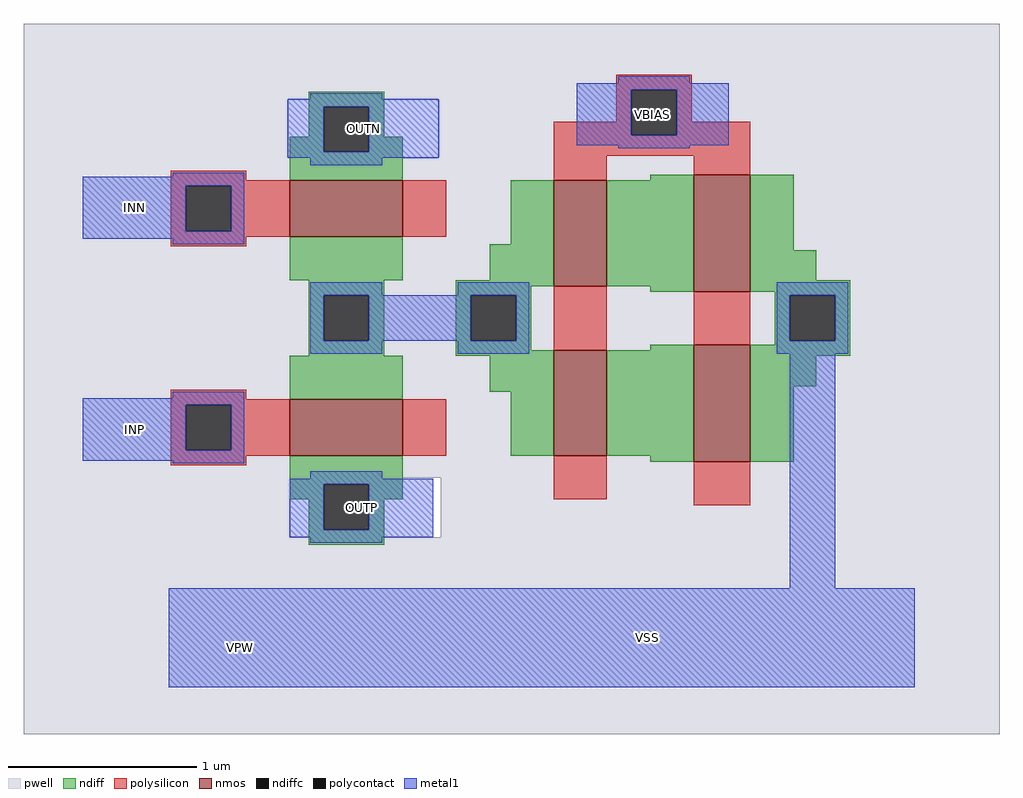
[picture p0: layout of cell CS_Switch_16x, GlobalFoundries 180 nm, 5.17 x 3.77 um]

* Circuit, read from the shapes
.subckt CS_Switch_16x INP INN OUTP OUTN VBIAS VSS VPW
XM1 n1 INP OUTP VPW nfet_03v3 w=0.6u l=0.3u
XM2 OUTN INN n1 VPW nfet_03v3 w=0.6u l=0.3u
XM3 n2 VBIAS n1 VPW nfet_03v3 w=0.56u l=0.28u
XM4 n3 VBIAS n1 VPW nfet_03v3 w=0.56u l=0.28u
XM5 VSS VBIAS n2 VPW nfet_03v3 w=0.62u l=0.3u
XM6 VSS VBIAS n3 VPW nfet_03v3 w=0.62u l=0.3u
.ends

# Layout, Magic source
magic
tech gf180mcuD
magscale 1 10
<< pwell >>
rect 1022 186 2056 266
rect 1022 124 1302 186
rect 1324 146 1404 186
rect 1304 124 1424 146
rect 1462 124 2056 186
rect 1022 -215 2056 124
rect 1022 -238 1424 -215
rect 1022 -278 1304 -238
rect 1324 -278 1404 -238
rect 1464 -278 2056 -215
rect 1022 -487 2056 -278
<< nmos >>
rect 1304 40 1424 100
rect 1584 -12 1640 100
rect 1732 -18 1792 106
rect 1304 -192 1424 -132
rect 1584 -192 1640 -80
rect 1732 -198 1792 -74
<< ndiff >>
rect 1324 178 1404 194
rect 1324 146 1340 178
rect 1304 130 1340 146
rect 1388 146 1404 178
rect 1388 130 1424 146
rect 1304 100 1424 130
rect 1686 100 1732 106
rect 1304 -6 1424 40
rect 1538 32 1584 100
rect 1516 -6 1584 32
rect 1324 -22 1404 -6
rect 1324 -70 1340 -22
rect 1388 -70 1404 -22
rect 1324 -86 1404 -70
rect 1480 -12 1584 -6
rect 1640 -12 1732 100
rect 1480 -22 1560 -12
rect 1480 -70 1496 -22
rect 1544 -70 1560 -22
rect 1480 -80 1560 -70
rect 1686 -18 1732 -12
rect 1792 26 1838 106
rect 1792 -6 1862 26
rect 1792 -18 1898 -6
rect 1818 -22 1898 -18
rect 1818 -70 1834 -22
rect 1882 -70 1898 -22
rect 1818 -74 1898 -70
rect 1686 -80 1732 -74
rect 1480 -86 1584 -80
rect 1304 -132 1424 -86
rect 1516 -124 1584 -86
rect 1538 -192 1584 -124
rect 1640 -192 1732 -80
rect 1304 -222 1424 -192
rect 1304 -238 1340 -222
rect 1324 -270 1340 -238
rect 1388 -238 1424 -222
rect 1686 -198 1732 -192
rect 1792 -86 1898 -74
rect 1792 -118 1862 -86
rect 1792 -198 1838 -118
rect 1388 -270 1404 -238
rect 1324 -286 1404 -270
<< ndiffc >>
rect 1340 130 1388 178
rect 1340 -70 1388 -22
rect 1496 -70 1544 -22
rect 1834 -70 1882 -22
rect 1340 -270 1388 -222
<< polysilicon >>
rect 1650 196 1730 212
rect 1650 162 1666 196
rect 1584 148 1666 162
rect 1714 162 1730 196
rect 1714 148 1792 162
rect 1178 100 1258 110
rect 1584 126 1792 148
rect 1584 100 1640 126
rect 1732 106 1792 126
rect 1178 94 1304 100
rect 1178 46 1194 94
rect 1242 46 1304 94
rect 1178 40 1304 46
rect 1424 40 1470 100
rect 1178 30 1258 40
rect 1584 -80 1640 -12
rect 1732 -74 1792 -18
rect 1178 -132 1258 -122
rect 1178 -138 1304 -132
rect 1178 -186 1194 -138
rect 1242 -186 1304 -138
rect 1178 -192 1304 -186
rect 1424 -192 1470 -132
rect 1178 -202 1258 -192
rect 1584 -238 1640 -192
rect 1732 -244 1792 -198
<< polycontact >>
rect 1666 148 1714 196
rect 1194 46 1242 94
rect 1194 -186 1242 -138
<< metal1 >>
rect 1652 203 1728 210
rect 1608 196 1769 203
rect 1326 186 1402 192
rect 1302 178 1462 186
rect 1302 130 1340 178
rect 1388 130 1462 178
rect 1608 148 1666 196
rect 1714 148 1769 196
rect 1608 137 1769 148
rect 1652 134 1728 137
rect 1302 124 1462 130
rect 1326 116 1402 124
rect 1180 104 1256 108
rect 1085 94 1256 104
rect 1085 46 1194 94
rect 1242 46 1256 94
rect 1085 38 1256 46
rect 1180 32 1256 38
rect 1326 -22 1402 -8
rect 1482 -22 1558 -8
rect 1326 -70 1340 -22
rect 1388 -70 1496 -22
rect 1544 -70 1558 -22
rect 1326 -84 1402 -70
rect 1482 -84 1558 -70
rect 1820 -22 1896 -8
rect 1820 -70 1834 -22
rect 1882 -70 1896 -22
rect 1820 -84 1896 -70
rect 1180 -131 1256 -124
rect 1085 -138 1256 -131
rect 1085 -186 1194 -138
rect 1242 -186 1256 -138
rect 1085 -197 1256 -186
rect 1180 -200 1256 -197
rect 1326 -216 1402 -208
rect 1304 -222 1456 -216
rect 1304 -270 1340 -222
rect 1388 -270 1456 -222
rect 1304 -278 1456 -270
rect 1326 -284 1402 -278
rect 1834 -332 1882 -84
rect 1176 -437 1966 -332
<< labels >>
flabel metal1 1608 137 1769 203 1 FreeSans 400 0 0 0 VBIAS
port 5 nsew power bidirectional
flabel metal1 1400 -437 1966 -332 1 FreeSans 400 0 0 0 VSS
port 6 nsew ground bidirectional
flabel pwell 1196 -438 1308 -351 1 FreeSans 400 0 0 0 VPW
port 7 nsew ground bidirectional
flabel metal1 1085 -197 1194 -131 1 FreeSans 400 0 0 0 INP
port 1 nsew signal input
flabel metal1 1085 38 1194 104 1 FreeSans 400 0 0 0 INN
port 2 nsew signal input
flabel metal1 1304 -278 1456 -216 1 FreeSans 400 0 0 0 OUTP
port 3 nsew signal bidirectional
flabel metal1 1302 124 1462 186 1 FreeSans 400 0 0 0 OUTN
port 4 nsew power bidirectional
<< end >>
